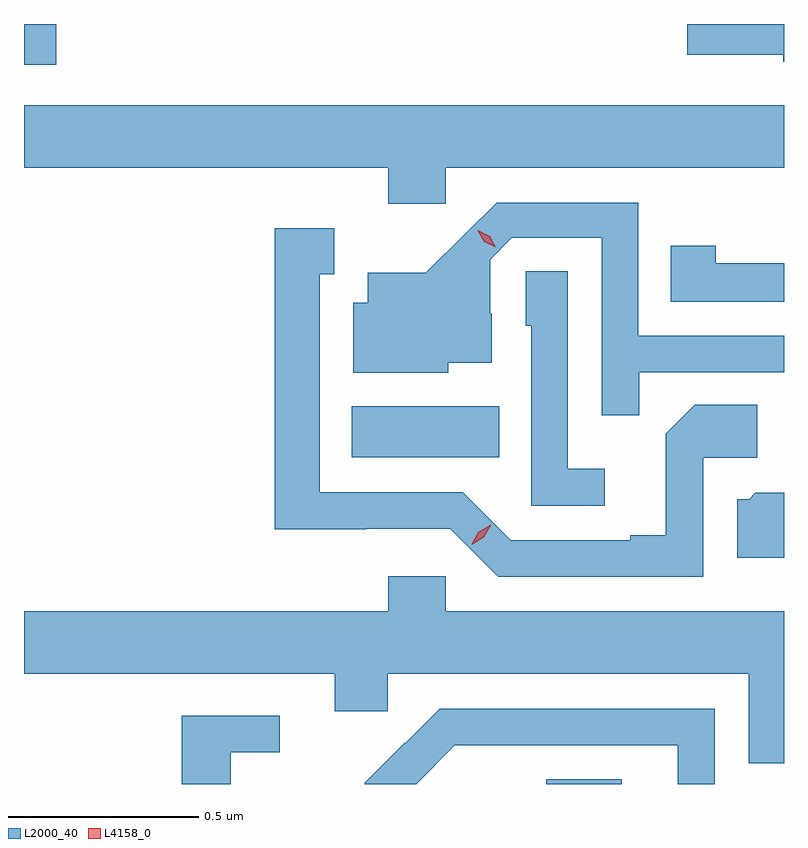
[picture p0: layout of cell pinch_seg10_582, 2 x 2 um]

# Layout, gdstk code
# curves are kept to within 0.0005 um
import gdstk
lib = gdstk.Library(unit=1e-6, precision=1e-09)
def R(c, l, rs):  # rectangles x0, y0, x1, y1
    for r in rs: c.add(gdstk.rectangle(r[:2], r[2:], *l))
def P(c, l, *ps):  # polygons
    for p in ps: c.add(gdstk.Polygon(p, *l))
L2000_40 = (2000, 40)
L4158_0 = (4158, 0)

pinch_seg10_582 = lib.new_cell('pinch_seg10_582')
R(pinch_seg10_582, L2000_40, [(300.828,1264.062,301.027,1264.074), (300.317,1264.922,300.704,1265.056), (299.454,1265.955,299.539,1266.062)])
P(pinch_seg10_582, L2000_40, [(301.454,1266.062),(301.2,1266.062),(301.2,1265.981),(301.452,1265.981),(301.452,1265.963),(301.454,1265.963)],
  [(300.564,1265.684),(301.454,1265.684),(301.454,1265.848),(299.454,1265.848),(299.454,1265.684),(300.413,1265.684),(300.413,1265.589),(300.564,1265.589)],
  [(301.073,1265.145),(301.454,1265.145),(301.454,1265.241),(301.071,1265.241),(301.071,1265.592),(300.698,1265.592),(300.511,1265.407),(300.359,1265.407),(300.359,1265.329),(300.32,1265.329),(300.32,1265.144),(300.57,1265.144),(300.57,1265.171),(300.685,1265.171),(300.685,1265.3),(300.681,1265.3),(300.681,1265.442),(300.738,1265.499),(300.975,1265.499),(300.975,1265.032),(301.073,1265.032)],
  [(301.242,1264.92),(301.384,1264.92),(301.384,1265.06),(301.219,1265.06),(301.143,1264.984),(301.143,1264.717),(301.049,1264.717),(301.049,1264.704),(300.735,1264.704),(300.609,1264.83),(300.232,1264.83),(300.232,1265.403),(300.271,1265.403),(300.271,1265.524),(300.114,1265.524),(300.114,1264.733),(300.354,1264.733),(300.354,1264.734),(300.576,1264.734),(300.702,1264.608),(301.242,1264.608)],
  [(301.454,1265.432),(301.275,1265.432),(301.275,1265.479),(301.156,1265.479),(301.156,1265.331),(301.454,1265.331)],
  [(300.982,1264.891),(300.885,1264.891),(300.885,1265.411),(300.774,1265.411),(300.774,1265.268),(300.789,1265.268),(300.789,1264.794),(300.982,1264.794)],
  [(301.454,1264.828),(301.378,1264.828),(301.362,1264.812),(301.331,1264.812),(301.331,1264.658),(301.454,1264.658)],
  [(301.454,1264.516),(300.564,1264.516),(300.564,1264.609),(300.413,1264.609),(300.413,1264.516),(299.454,1264.516),(299.454,1264.352),(300.272,1264.352),(300.272,1264.254),(300.411,1264.254),(300.411,1264.352),(301.361,1264.352),(301.361,1264.117),(301.454,1264.117)],
  [(300.588,1264.164),(301.175,1264.164),(301.175,1264.062),(301.272,1264.062),(301.272,1264.26),(300.548,1264.26),(300.457,1264.169),(300.456,1264.17),(300.351,1264.065),(300.351,1264.062),(300.486,1264.062)],
  [(299.998,1264.146),(300.127,1264.146),(300.127,1264.242),(299.869,1264.242),(299.869,1264.062),(299.998,1264.062)])
P(pinch_seg10_582, L4158_0, [(300.696,1265.474),(300.665,1265.489),(300.648,1265.518),(300.648,1265.519),(300.648,1265.519),(300.679,1265.504),(300.696,1265.474),(300.696,1265.474)],
  [(300.632,1264.692),(300.632,1264.693),(300.65,1264.725),(300.682,1264.744),(300.682,1264.744),(300.682,1264.743),(300.664,1264.711),(300.632,1264.692)])

lib.write_gds('pinch_seg10_582.gds')
